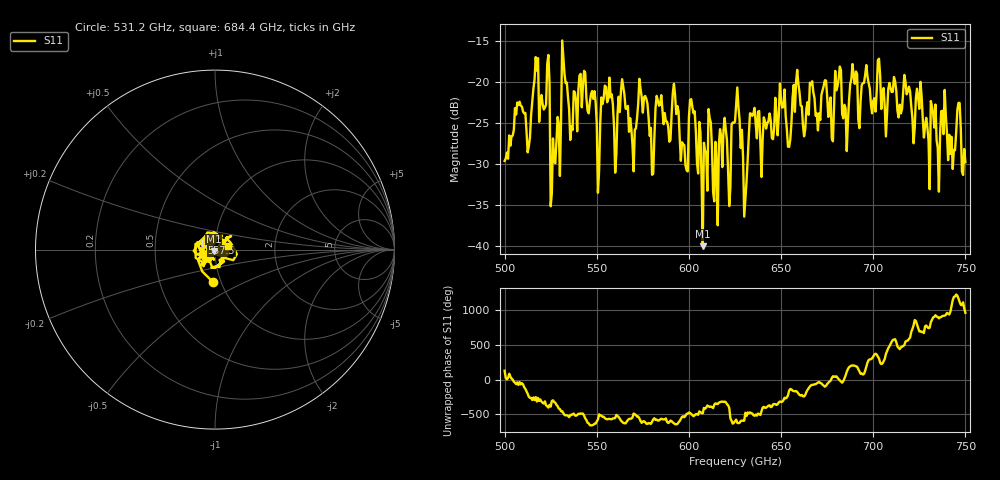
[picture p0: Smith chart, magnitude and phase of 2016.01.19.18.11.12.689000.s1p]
!Created with skrf (http://scikit-rf.org).
# GHz S RI R 50.0
!freq ReS11 ImS11
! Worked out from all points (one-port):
!   401 points, 500 GHz to 750 GHz, reference 50 ohm
!   lowest |S11| = -40.0 dB at 607.5 GHz (marker M1), VSWR 1.02, Z = 49.4 - j0.807 ohm
!   |S11| at or under -10 dB: start of sweep to end of sweep
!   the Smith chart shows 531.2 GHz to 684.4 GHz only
!   S11 on the Smith chart (normalised r, x): 531.2 GHz: 0.91, -0.34; 557.5 GHz: 0.86, +0.07; 684.4 GHz: 1.15, +0.05
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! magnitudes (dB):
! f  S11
! 500 GHz  -29.6
! 506.9 GHz  -22.5
! 513.1 GHz  -27.8
! 516.9 GHz  -16.9
! 523.1 GHz  -17.8
! 526.2 GHz  -26.9
! 531.2 GHz  -14.9
! 548.1 GHz  -22.0
! 550.6 GHz  -33.5
! 557.5 GHz  -21.8
! 562.5 GHz  -23.6
! 574.4 GHz  -21.8
! 580 GHz  -31.3
! 583.8 GHz  -22.9
! 593.8 GHz  -22.9
! 598.1 GHz  -30.1
! 601.9 GHz  -23.1
! 607.5 GHz  -40.0
! 621.9 GHz  -35.1
! 625 GHz  -24.8
! 630.6 GHz  -34.2
! 634.4 GHz  -24.1
! 656.2 GHz  -21.8
! 681.2 GHz  -19.6
! 684.4 GHz  -22.8
! 687.5 GHz  -20.2
! 718.8 GHz  -21.2
! 750 GHz  -29.7
